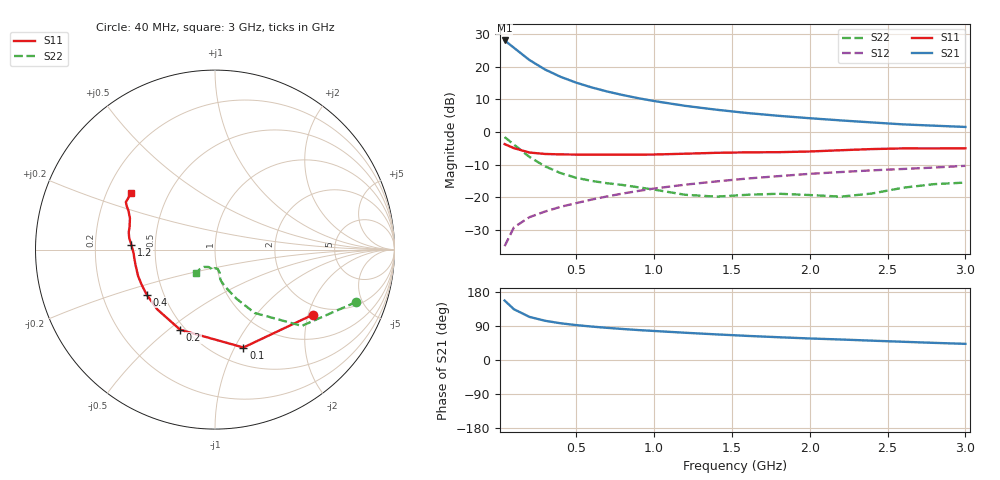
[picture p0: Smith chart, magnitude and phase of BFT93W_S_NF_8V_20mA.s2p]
! Filename:  BFT93WG.S2P  Version:  4.0
! Philips part #: BFT93W  Date: Jun 1994
! Bias condition: Vce=10V, Ic=20mA
#  MHz  S  MA  R  50
! Freq  S11  S21  S12  S22  !GUM [dB]
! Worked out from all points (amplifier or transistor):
!   21 points, 40 MHz to 3 GHz, reference 50 ohm
!   highest |S21| = 28.0 dB at 40 MHz (marker M1)
!   |S21| within 3 dB of that: start of sweep to 120 MHz
!   unconditionally stable (mu >= 1): 575.2 MHz to end of sweep
!   at 300 MHz: K = 0.79, MSG = 21.7 dB, |S12| = -24.3 dB
!   at 1 GHz: K = 1.11, MAG = 11.4 dB, |S12| = -17.3 dB
!   at 3 GHz: K = 1.08, MAG = 4.2 dB, |S12| = -10.3 dB
!   lowest NFmin = 3.00 dB at 500 MHz
!   S11 on the Smith chart (normalised r, x): 40 MHz: 1.69, -2.15; 100 MHz: 0.67, -1.08; 200 MHz: 0.47, -0.55; 400 MHz: 0.40, -0.25; 1.2 GHz: 0.36, +0.03; 3 GHz: 0.30, +0.28
40  0.655 -33.6  25.21 156.9  0.018 74.2  0.84 -20.3
100  0.568 -73.8  19.46 133.9  0.035 61.0  0.644 -41.3
200  0.487 -113.4  12.63 113.7  0.05 54.9  0.416 -58.0
300  0.463 -134.1  9.05 103.5  0.061 55.1  0.299 -66.3
400  0.456 -146.7  6.997 96.9  0.072 56.9  0.236 -72.0
500  0.453 -154.7  5.702 92.1  0.082 58.5  0.2 -76.3
600  0.453 -161.0  4.818 88.2  0.093 60.0  0.179 -79.0
700  0.451 -165.7  4.171 84.8  0.104 61.0  0.165 -79.9
800  0.451 -169.9  3.683 81.8  0.115 61.8  0.155 -79.9
900  0.452 -173.7  3.297 79.0  0.126 62.4  0.143 -79.0
1000  0.454 -177.3  2.986 76.6  0.137 62.9  0.132 -78.5
1200  0.467 176.6  2.521 71.9  0.157 63.4  0.11 -81.6
1400  0.482 172.4  2.2 67.6  0.176 63.4  0.103 -90.5
1600  0.49 168.8  1.956 63.6  0.195 62.8  0.11 -97.4
1800  0.493 164.8  1.774 60.1  0.212 62.7  0.114 -98.0
2000  0.505 159.8  1.63 56.8  0.23 62.7  0.109 -100.1
2200  0.528 155.9  1.509 54.1  0.245 62.8  0.103 -109.7
2400  0.55 153.6  1.405 51.0  0.26 62.7  0.115 -122.8
2600  0.563 151.9  1.312 48.1  0.273 62.2  0.141 -128.2
2800  0.562 149.2  1.253 45.2  0.287 62.0  0.16 -127.8
3000  0.565 145.8  1.199 42.6  0.305 61.7  0.169 -128.3
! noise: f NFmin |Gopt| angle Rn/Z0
500  3  0.24  98  0.44
1000  3.6  0.32  131  0.4
